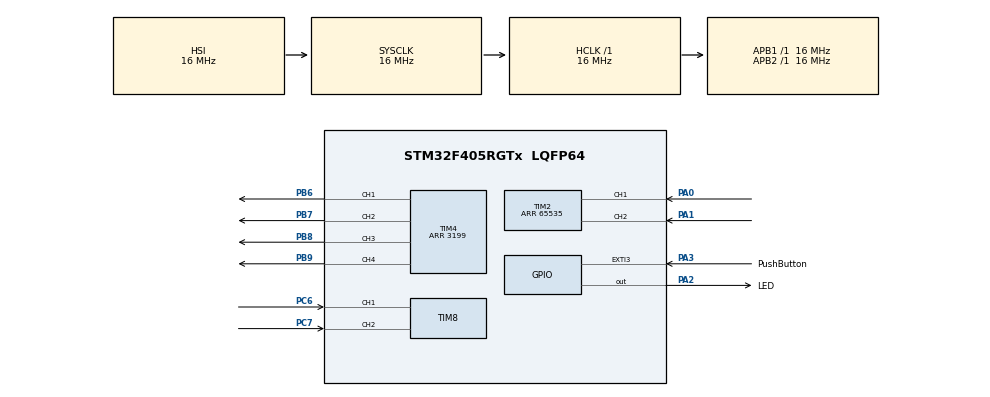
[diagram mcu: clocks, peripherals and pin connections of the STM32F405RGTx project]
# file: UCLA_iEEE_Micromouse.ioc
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Mcu.Family=STM32F4
Mcu.Name=STM32F405RGTx
Mcu.Package=LQFP64
NVIC.EXTI3_IRQn=true\:0\:0\:false\:false\:true\:true\:true
NVIC.PriorityGroup=NVIC_PRIORITYGROUP_4
NVIC.TIM4_IRQn=true\:0\:0\:false\:false\:true\:true\:true
PA0-WKUP.Signal=S_TIM2_CH1_ETR
PA1.Signal=S_TIM2_CH2
PA2.GPIO_Label=LED
PA2.Signal=GPIO_Output
PA3.GPIO_Label=PushButton
PA3.GPIO_ModeDefaultEXTI=GPIO_MODE_IT_RISING_FALLING
PA3.Signal=GPXTI3
PB6.Signal=S_TIM4_CH1
PB7.Signal=S_TIM4_CH2
PB8.Signal=S_TIM4_CH3
PB9.Signal=S_TIM4_CH4
PC6.Signal=S_TIM8_CH1
PC7.Signal=S_TIM8_CH2
ProjectManager.HeapSize=0x200
ProjectManager.StackSize=0x400
ProjectManager.TargetToolchain=STM32CubeIDE
RCC.AHBFreq_Value=16000000
RCC.APB1Freq_Value=16000000
RCC.APB2Freq_Value=16000000
RCC.CortexFreq_Value=16000000
RCC.HSE_VALUE=25000000
RCC.HSI_VALUE=16000000
RCC.LSE_VALUE=32768
RCC.SYSCLKFreq_VALUE=16000000
RCC.VCOOutputFreq_Value=192000000
SH.S_TIM2_CH1_ETR.0=TIM2_CH1,Encoder_Interface
SH.S_TIM2_CH2.0=TIM2_CH2,Encoder_Interface
SH.S_TIM4_CH1.0=TIM4_CH1,PWM Generation1 CH1
SH.S_TIM4_CH2.0=TIM4_CH2,PWM Generation2 CH2
SH.S_TIM4_CH3.0=TIM4_CH3,PWM Generation3 CH3
SH.S_TIM4_CH4.0=TIM4_CH4,PWM Generation4 CH4
SH.S_TIM8_CH1.0=TIM8_CH1,Encoder_Interface
SH.S_TIM8_CH2.0=TIM8_CH2,Encoder_Interface
TIM2.EncoderMode=TIM_ENCODERMODE_TI12
TIM2.Period=65535
TIM4.Channel-PWM\ Generation1\ CH1=TIM_CHANNEL_1
TIM4.Channel-PWM\ Generation2\ CH2=TIM_CHANNEL_2
TIM4.Channel-PWM\ Generation3\ CH3=TIM_CHANNEL_3
TIM4.Channel-PWM\ Generation4\ CH4=TIM_CHANNEL_4
TIM4.Period=3199
TIM8.EncoderMode=TIM_ENCODERMODE_TI12
board=custom

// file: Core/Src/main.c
/* USER CODE BEGIN Header */
/**
  ******************************************************************************
  * @file           : main.c
  * @brief          : Main program body
  ******************************************************************************
  * @attention
  *
  * <h2><center>&copy; Copyright (c) 2020 STMicroelectronics.
  * All rights reserved.</center></h2>
  *
  * This software component is licensed by ST under BSD 3-Clause license,
  * the "License"; You may not use this file except in compliance with the
  * License. You may obtain a copy of the License at:
  *                        opensource.org/licenses/BSD-3-Clause
  *
  ******************************************************************************
  */
/* USER CODE END Header */
#include "main.h"

/* USER CODE BEGIN Includes */
#include "encoders.h"
#include "motors.h"
#include "controller.h"
/* USER CODE END Includes */

TIM_HandleTypeDef htim2;
TIM_HandleTypeDef htim4;
TIM_HandleTypeDef htim8;

/* USER CODE BEGIN PV */
int16_t left_counts = 0;
int16_t right_counts = 0;
/* USER CODE END PV */

void SystemClock_Config(void);
static void MX_GPIO_Init(void);
static void MX_TIM2_Init(void);
static void MX_TIM8_Init(void);
static void MX_TIM4_Init(void);

int main(void)
{

  /* MCU Configuration--------------------------------------------------------*/

  /* Reset of all peripherals, Initializes the Flash interface and the Systick. */
  HAL_Init();

  /* Configure the system clock */
  SystemClock_Config();

  /* Initialize all configured peripherals */
  MX_GPIO_Init();
  MX_TIM2_Init();
  MX_TIM8_Init();
  MX_TIM4_Init();
  /* USER CODE BEGIN 2 */
  HAL_TIM_Encoder_Start(&htim2, TIM_CHANNEL_ALL);
  HAL_TIM_Encoder_Start(&htim8, TIM_CHANNEL_ALL);

  HAL_TIM_PWM_Start(&htim4, TIM_CHANNEL_1);
  HAL_TIM_PWM_Start(&htim4, TIM_CHANNEL_2);
  HAL_TIM_PWM_Start(&htim4, TIM_CHANNEL_3);
  HAL_TIM_PWM_Start(&htim4, TIM_CHANNEL_4);

  setMotorRPWM(0.8);

  move(1);
  turn(1);
  move(2);
  turn(-1);
  move(1);
  turn(-1);
  move(1);
  turn(-1);
  move(1);

  //turn(-1);

  /* USER CODE END 2 */

  /* Infinite loop */
  /* USER CODE BEGIN WHILE */

  while (1)
  {
	  left_counts = getLeftEncoderCounts();
	  right_counts = getRightEncoderCounts();

    /* USER CODE END WHILE */

  }
}

void SystemClock_Config(void)
{
  RCC_OscInitTypeDef RCC_OscInitStruct = {0};
  RCC_ClkInitTypeDef RCC_ClkInitStruct = {0};

  /** Configure the main internal regulator output voltage
  */
  __HAL_RCC_PWR_CLK_ENABLE();
  __HAL_PWR_VOLTAGESCALING_CONFIG(PWR_REGULATOR_VOLTAGE_SCALE1);
  /** Initializes the RCC Oscillators according to the specified parameters
  * in the RCC_OscInitTypeDef structure.
  */
  RCC_OscInitStruct.OscillatorType = RCC_OSCILLATORTYPE_HSI;
  RCC_OscInitStruct.HSIState = RCC_HSI_ON;
  RCC_OscInitStruct.HSICalibrationValue = RCC_HSICALIBRATION_DEFAULT;
  RCC_OscInitStruct.PLL.PLLState = RCC_PLL_NONE;
  if (HAL_RCC_OscConfig(&RCC_OscInitStruct) != HAL_OK)
  {
    Error_Handler();
  }
  /** Initializes the CPU, AHB and APB buses clocks
  */
  RCC_ClkInitStruct.ClockType = RCC_CLOCKTYPE_HCLK|RCC_CLOCKTYPE_SYSCLK
                              |RCC_CLOCKTYPE_PCLK1|RCC_CLOCKTYPE_PCLK2;
  RCC_ClkInitStruct.SYSCLKSource = RCC_SYSCLKSOURCE_HSI;
  RCC_ClkInitStruct.AHBCLKDivider = RCC_SYSCLK_DIV1;
  RCC_ClkInitStruct.APB1CLKDivider = RCC_HCLK_DIV1;
  RCC_ClkInitStruct.APB2CLKDivider = RCC_HCLK_DIV1;

  if (HAL_RCC_ClockConfig(&RCC_ClkInitStruct, FLASH_LATENCY_0) != HAL_OK)
  {
    Error_Handler();
  }
}

static void MX_TIM2_Init(void)
{

  TIM_Encoder_InitTypeDef sConfig = {0};
  TIM_MasterConfigTypeDef sMasterConfig = {0};

  htim2.Instance = TIM2;
  htim2.Init.Prescaler = 0;
  htim2.Init.CounterMode = TIM_COUNTERMODE_UP;
  htim2.Init.Period = 65535;
  htim2.Init.ClockDivision = TIM_CLOCKDIVISION_DIV1;
  htim2.Init.AutoReloadPreload = TIM_AUTORELOAD_PRELOAD_DISABLE;
  sConfig.EncoderMode = TIM_ENCODERMODE_TI12;
  sConfig.IC1Polarity = TIM_ICPOLARITY_RISING;
  sConfig.IC1Selection = TIM_ICSELECTION_DIRECTTI;
  sConfig.IC1Prescaler = TIM_ICPSC_DIV1;
  sConfig.IC1Filter = 0;
  sConfig.IC2Polarity = TIM_ICPOLARITY_RISING;
  sConfig.IC2Selection = TIM_ICSELECTION_DIRECTTI;
  sConfig.IC2Prescaler = TIM_ICPSC_DIV1;
  sConfig.IC2Filter = 0;
  if (HAL_TIM_Encoder_Init(&htim2, &sConfig) != HAL_OK)
  {
    Error_Handler();
  }
  sMasterConfig.MasterOutputTrigger = TIM_TRGO_RESET;
  sMasterConfig.MasterSlaveMode = TIM_MASTERSLAVEMODE_DISABLE;
  if (HAL_TIMEx_MasterConfigSynchronization(&htim2, &sMasterConfig) != HAL_OK)
  {
    Error_Handler();
  }

}

static void MX_TIM4_Init(void)
{

  TIM_MasterConfigTypeDef sMasterConfig = {0};
  TIM_OC_InitTypeDef sConfigOC = {0};

  htim4.Instance = TIM4;
  htim4.Init.Prescaler = 0;
  htim4.Init.CounterMode = TIM_COUNTERMODE_UP;
  htim4.Init.Period = 3199;
  htim4.Init.ClockDivision = TIM_CLOCKDIVISION_DIV1;
  htim4.Init.AutoReloadPreload = TIM_AUTORELOAD_PRELOAD_DISABLE;
  if (HAL_TIM_PWM_Init(&htim4) != HAL_OK)
  {
    Error_Handler();
  }
  sMasterConfig.MasterOutputTrigger = TIM_TRGO_RESET;
  sMasterConfig.MasterSlaveMode = TIM_MASTERSLAVEMODE_DISABLE;
  if (HAL_TIMEx_MasterConfigSynchronization(&htim4, &sMasterConfig) != HAL_OK)
  {
    Error_Handler();
  }
  sConfigOC.OCMode = TIM_OCMODE_PWM1;
  sConfigOC.Pulse = 0;
  sConfigOC.OCPolarity = TIM_OCPOLARITY_HIGH;
  sConfigOC.OCFastMode = TIM_OCFAST_DISABLE;
  if (HAL_TIM_PWM_ConfigChannel(&htim4, &sConfigOC, TIM_CHANNEL_1) != HAL_OK)
  {
    Error_Handler();
  }
  if (HAL_TIM_PWM_ConfigChannel(&htim4, &sConfigOC, TIM_CHANNEL_2) != HAL_OK)
  {
    Error_Handler();
  }
  if (HAL_TIM_PWM_ConfigChannel(&htim4, &sConfigOC, TIM_CHANNEL_3) != HAL_OK)
  {
    Error_Handler();
  }
  if (HAL_TIM_PWM_ConfigChannel(&htim4, &sConfigOC, TIM_CHANNEL_4) != HAL_OK)
  {
    Error_Handler();
  }
  HAL_TIM_MspPostInit(&htim4);

}

static void MX_TIM8_Init(void)
{

  TIM_Encoder_InitTypeDef sConfig = {0};
  TIM_MasterConfigTypeDef sMasterConfig = {0};

  htim8.Instance = TIM8;
  htim8.Init.Prescaler = 0;
  htim8.Init.CounterMode = TIM_COUNTERMODE_UP;
  htim8.Init.Period = 65535;
  htim8.Init.ClockDivision = TIM_CLOCKDIVISION_DIV1;
  htim8.Init.RepetitionCounter = 0;
  htim8.Init.AutoReloadPreload = TIM_AUTORELOAD_PRELOAD_DISABLE;
  sConfig.EncoderMode = TIM_ENCODERMODE_TI12;
  sConfig.IC1Polarity = TIM_ICPOLARITY_RISING;
  sConfig.IC1Selection = TIM_ICSELECTION_DIRECTTI;
  sConfig.IC1Prescaler = TIM_ICPSC_DIV1;
  sConfig.IC1Filter = 0;
  sConfig.IC2Polarity = TIM_ICPOLARITY_RISING;
  sConfig.IC2Selection = TIM_ICSELECTION_DIRECTTI;
  sConfig.IC2Prescaler = TIM_ICPSC_DIV1;
  sConfig.IC2Filter = 0;
  if (HAL_TIM_Encoder_Init(&htim8, &sConfig) != HAL_OK)
  {
    Error_Handler();
  }
  sMasterConfig.MasterOutputTrigger = TIM_TRGO_RESET;
  sMasterConfig.MasterSlaveMode = TIM_MASTERSLAVEMODE_DISABLE;
  if (HAL_TIMEx_MasterConfigSynchronization(&htim8, &sMasterConfig) != HAL_OK)
  {
    Error_Handler();
  }

}

static void MX_GPIO_Init(void)
{
  GPIO_InitTypeDef GPIO_InitStruct = {0};

  /* GPIO Ports Clock Enable */
  __HAL_RCC_GPIOA_CLK_ENABLE();
  __HAL_RCC_GPIOC_CLK_ENABLE();
  __HAL_RCC_GPIOB_CLK_ENABLE();

  /*Configure GPIO pin Output Level */
  HAL_GPIO_WritePin(LED_GPIO_Port, LED_Pin, GPIO_PIN_RESET);

  /*Configure GPIO pin : LED_Pin */
  GPIO_InitStruct.Pin = LED_Pin;
  GPIO_InitStruct.Mode = GPIO_MODE_OUTPUT_PP;
  GPIO_InitStruct.Pull = GPIO_NOPULL;
  GPIO_InitStruct.Speed = GPIO_SPEED_FREQ_LOW;
  HAL_GPIO_Init(LED_GPIO_Port, &GPIO_InitStruct);

  /*Configure GPIO pin : PushButton_Pin */
  GPIO_InitStruct.Pin = PushButton_Pin;
  GPIO_InitStruct.Mode = GPIO_MODE_IT_RISING_FALLING;
  GPIO_InitStruct.Pull = GPIO_NOPULL;
  HAL_GPIO_Init(PushButton_GPIO_Port, &GPIO_InitStruct);

  /* EXTI interrupt init*/
  HAL_NVIC_SetPriority(EXTI3_IRQn, 0, 0);
  HAL_NVIC_EnableIRQ(EXTI3_IRQn);

}

/* USER CODE BEGIN 4 */
void HAL_GPIO_EXTI_Callback(uint16_t GPIO_Pin)
{
  if (GPIO_Pin == PushButton_Pin)
  {
	  while (HAL_GPIO_ReadPin(PushButton_GPIO_Port, PushButton_Pin)==GPIO_PIN_RESET)
	  {
	  	// Set LED to high voltage (ON)
	  	HAL_GPIO_WritePin(LED_GPIO_Port, LED_Pin, GPIO_PIN_SET);
	  }

	  // Set LED to low voltage (OFF)
	  HAL_GPIO_WritePin(LED_GPIO_Port, LED_Pin, GPIO_PIN_RESET);
  }
}
/* USER CODE END 4 */

void Error_Handler(void)
{
  __disable_irq();
  while (1)
  {
  }
}

/************************ (C) COPYRIGHT STMicroelectronics *****END OF FILE****/
